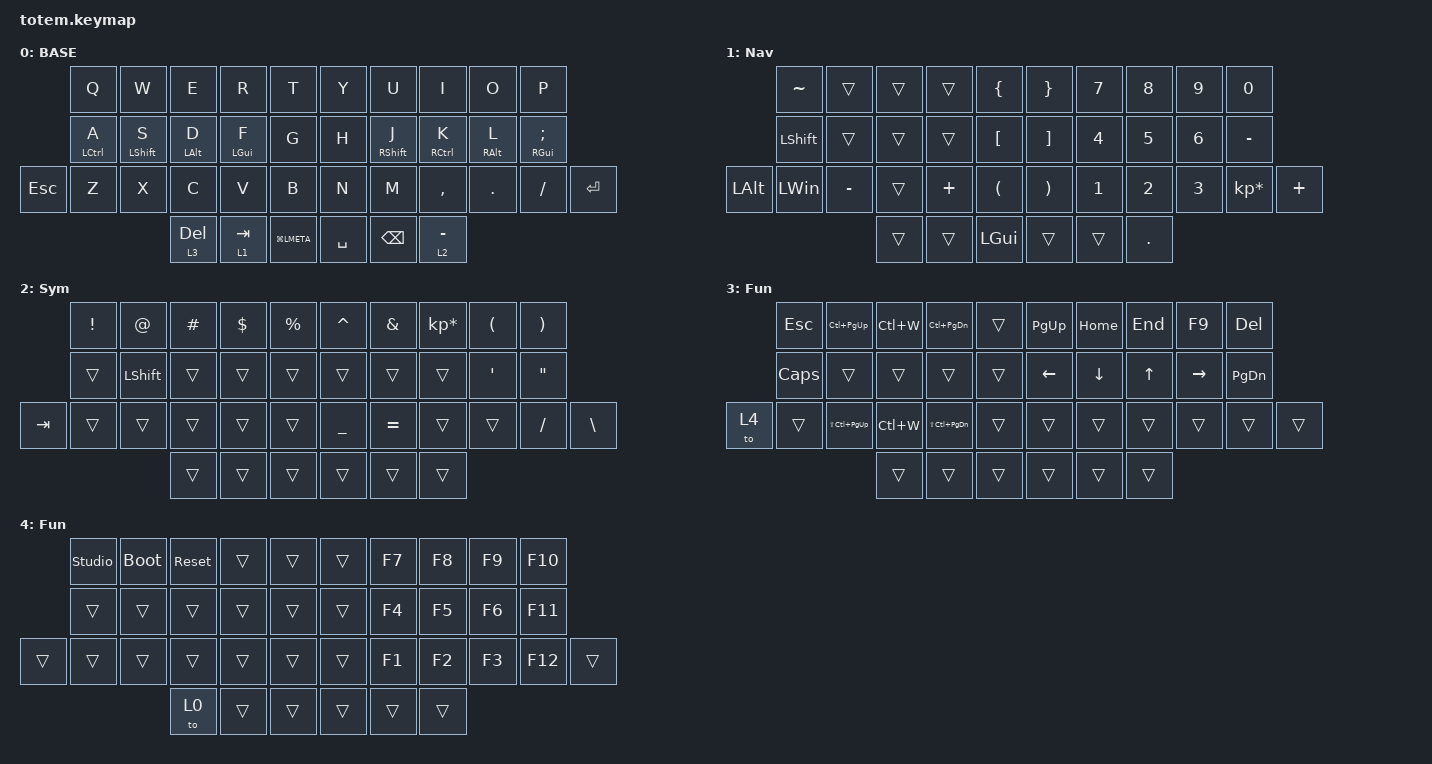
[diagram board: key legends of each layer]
//
//                                                        ▀▀▀▀▀     ▀▀▀▀▀          ▀▀█▀▀
//                                                        ▄▀▀▀▄  ▄  ▄▀▀▀▄  ▄  ▄▀▀▀▄  █  ▄▀▀▀▄
//                                                        █   █  █  █   █  █  █   █  █  █   █
//                                                         ▀▀▀   █   ▀▀▀   █   ▀▀▀   ▀   ▀▀▀
//                                                               █      ▄▄▄█▄▄▄    █   █  
//                                                               ▀      █  █  █     █▄█
//                                                             ▀▀▀▀▀    █  █  █      ▀
//                                                                      ▀  ▀  ▀
//
// ▄▄▄▄▄▄▄▄▄▄▄▄▄▄▄▄▄▄▄▄▄▄▄▄▄▄▄▄▄▄▄▄▄▄▄▄▄▄▄▄▄▄▄▄▄▄▄▄▄▄▄▄▄▄▄▄▄▄▄▄▄▄▄▄▄▄▄▄▄▄▄▄▄▄▄▄▄▄▄▄▄▄▄▄▄▄▄▄▄▄▄▄▄▄▄▄▄▄▄▄▄▄▄▄▄▄▄▄▄▄▄▄▄▄▄▄▄▄▄▄▄▄▄▄▄▄▄▄▄▄▄▄▄▄▄▄▄▄▄▄▄▄▄▄▄▄▄▄▄

#include <behaviors.dtsi>
#include <dt-bindings/zmk/keys.h>

#define Base        0
#define Nav         1
#define Sym         2
#define Fun         3
#define Game        4
#define Gameplus    5

&mt {
    quick-tap-ms = <100>;
    global-quick-tap;
    flavor = "tap-preferred";
    tapping-term-ms = <170>;
};

&lt {
    tapping-term-ms = <240>;
    flavor = "balanced";
    quick-tap-ms = <150>;
};

/ {
    behaviors {
        hm: homerow_mods {
            compatible = "zmk,behavior-hold-tap";
            label = "HOMEROW_MODS";
            #binding-cells = <2>;
            flavor = "tap-preferred";
            tapping-term-ms = <200>;
            quick-tap-ms = <125>;
            global-quick-tap;
            bindings = <&kp>, <&kp>;
        };
    };

    combos { compatible = "zmk,combos"; };

    keymap {
        compatible = "zmk,keymap";

        Base {
            display-name = "BASE";
            bindings = <
         &kp Q        &kp W             &kp E           &kp R       &kp T            &kp Y      &kp U          &kp I        &kp O       &kp P
         &hm LCTRL A  &hm LEFT_SHIFT S  &hm LEFT_ALT D  &hm LGUI F  &kp G            &kp H      &hm RSHFT J    &hm RCTRL K  &hm RALT L  &hm RGUI SEMICOLON
&kp ESC  &kp Z        &kp X             &kp C           &kp V       &kp B            &kp N      &kp M          &kp COMMA    &kp DOT     &kp SLASH           &kp ENTER
                                        &lt 3 DEL       &lt 1 TAB   &kp LG(LMETA)    &kp SPACE  &kp BACKSPACE  &lt 2 MINUS
            >;
        };

        Numbers {
            display-name = "Nav";
            bindings = <
              &kp TILDE       &trans     &trans  &trans    &kp LBRC    &kp RBRC  &kp NUMBER_7  &kp NUMBER_8  &kp NUMBER_9  &kp NUMBER_0
              &kp LEFT_SHIFT  &trans     &trans  &trans    &kp LBKT    &kp RBKT  &kp NUMBER_4  &kp NUMBER_5  &kp NUMBER_6  &kp MINUS
&kp LEFT_ALT  &kp LEFT_WIN    &kp MINUS  &trans  &kp PLUS  &kp LPAR    &kp RPAR  &kp NUMBER_1  &kp NUMBER_2  &kp NUMBER_3  &kp KP_MULTIPLY  &kp PLUS
                                         &trans  &trans    &kp LGUI    &trans    &trans        &kp DOT
            >;
        };

        Symbols {
            display-name = "Sym";
            bindings = <
         &kp EXCL  &kp AT          &kp HASH  &kp DOLLAR  &kp PERCENT    &kp CARET  &kp AMPERSAND  &kp KP_ASTERISK  &kp LEFT_PARENTHESIS  &kp RIGHT_PARENTHESIS
         &trans    &kp LEFT_SHIFT  &trans    &trans      &trans         &trans     &trans         &trans           &kp SQT               &kp DOUBLE_QUOTES
&kp TAB  &trans    &trans          &trans    &trans      &trans         &kp UNDER  &kp EQUAL      &trans           &trans                &kp SLASH              &kp BACKSLASH
                                   &trans    &trans      &trans         &trans     &trans         &trans
            >;
        };

        Navig {
            display-name = "Fun";
            bindings = <
       &kp ESC   &kp LC(PG_UP)      &kp LC(W)  &kp LC(PG_DN)      &trans    &kp PG_UP       &kp HOME        &kp END  &kp F9           &kp DEL
       &kp CAPS  &trans             &trans     &trans             &trans    &kp LEFT_ARROW  &kp DOWN_ARROW  &kp UP   &kp RIGHT_ARROW  &kp PG_DN
&to 4  &trans    &kp LS(LC(PG_UP))  &kp LC(W)  &kp LS(LC(PG_DN))  &trans    &trans          &trans          &trans   &trans           &trans     &trans
                                    &trans     &trans             &trans    &trans          &trans          &trans
            >;
        };

        Fun {
            display-name = "Fun";
            bindings = <
        &studio_unlock  &bootloader  &sys_reset  &trans  &trans    &trans  &kp F7  &kp F8  &kp F9  &kp F10
        &trans          &trans       &trans      &trans  &trans    &trans  &kp F4  &kp F5  &kp F6  &kp F11
&trans  &trans          &trans       &trans      &trans  &trans    &trans  &kp F1  &kp F2  &kp F3  &kp F12  &trans
                                     &to 0       &trans  &trans    &trans  &trans  &trans
            >;
        };
    };
};
